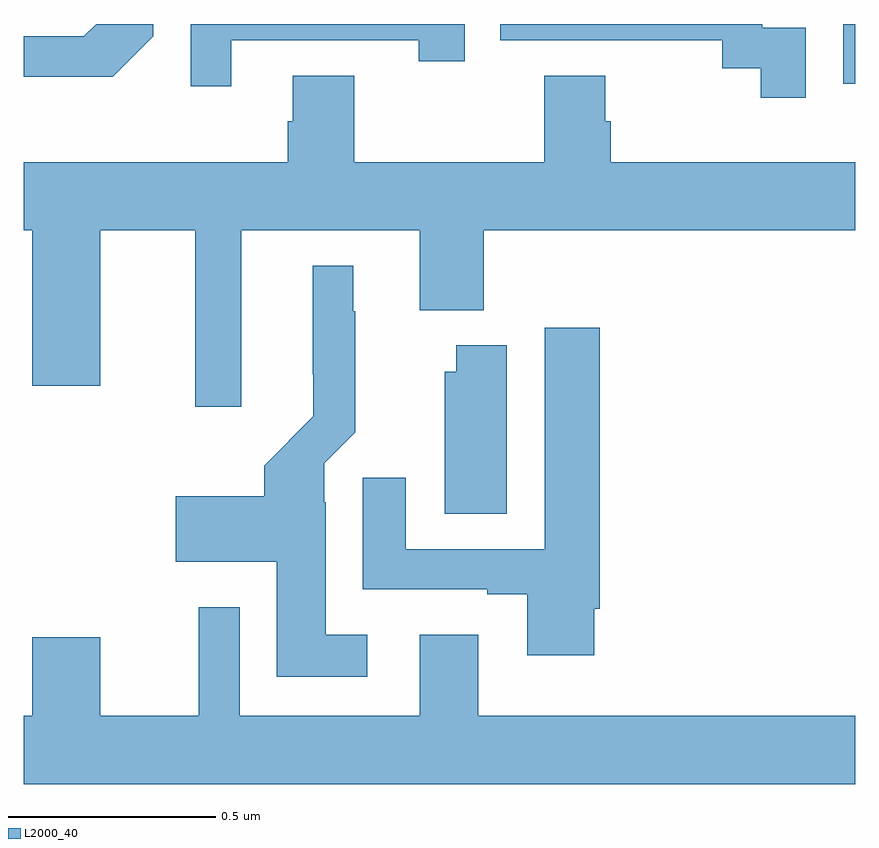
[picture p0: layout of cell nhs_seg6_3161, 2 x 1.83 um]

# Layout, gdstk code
import gdstk
lib = gdstk.Library(unit=1e-6, precision=1e-09)
def R(c, l, rs):  # rectangles x0, y0, x1, y1
    for r in rs: c.add(gdstk.rectangle(r[:2], r[2:], *l))
def P(c, l, *ps):  # polygons
    for p in ps: c.add(gdstk.Polygon(p, *l))
L2000_40 = (2000, 40)

nhs_seg6_3161 = lib.new_cell('nhs_seg6_3161')
R(nhs_seg6_3161, L2000_40, [(154.971,946.356,155,946.5)])
P(nhs_seg6_3161, L2000_40, [(153.312,946.47),(153.312,946.5),(153.174,946.5),(153.144,946.47),(153,946.47),(153,946.373),(153.214,946.373)],
  [(154.881,946.491),(154.776,946.491),(154.776,946.5),(154.146,946.5),(154.146,946.461),(154.68,946.461),(154.68,946.393),(154.773,946.393),(154.773,946.323),(154.881,946.323)],
  [(153.499,946.461),(153.95,946.461),(153.95,946.41),(154.061,946.41),(154.061,946.5),(153.402,946.5),(153.402,946.35),(153.499,946.35)],
  [(153.523,946.004),(153.953,946.004),(153.953,945.812),(154.106,945.812),(154.106,946.004),(155,946.004),(155,946.168),(154.412,946.168),(154.412,946.266),(154.399,946.266),(154.399,946.376),(154.252,946.376),(154.252,946.168),(153.795,946.168),(153.795,946.376),(153.647,946.376),(153.647,946.266),(153.635,946.266),(153.635,946.168),(153,946.168),(153,946.004),(153.02,946.004),(153.02,945.63),(153.184,945.63),(153.184,946.004),(153.413,946.004),(153.413,945.579),(153.523,945.579)],
  [(153.826,945.031),(153.727,945.031),(153.727,945.35),(153.723,945.35),(153.723,945.444),(153.797,945.518),(153.797,945.809),(153.793,945.809),(153.793,945.919),(153.695,945.919),(153.695,945.658),(153.696,945.658),(153.696,945.556),(153.578,945.438),(153.578,945.364),(153.366,945.364),(153.366,945.206),(153.608,945.206),(153.608,944.93),(153.826,944.93)],
  [(154.372,945.094),(154.385,945.094),(154.385,945.769),(154.253,945.769),(154.253,945.237),(153.919,945.237),(153.919,945.409),(153.815,945.409),(153.815,945.141),(154.115,945.141),(154.115,945.129),(154.211,945.129),(154.211,944.982),(154.372,944.982)],
  [(154.162,945.727),(154.04,945.727),(154.04,945.663),(154.013,945.663),(154.013,945.322),(154.162,945.322)],
  [(155,944.836),(154.093,944.836),(154.093,945.031),(153.953,945.031),(153.953,944.836),(153.519,944.836),(153.519,945.097),(153.421,945.097),(153.421,944.836),(153.184,944.836),(153.184,945.025),(153.02,945.025),(153.02,944.836),(153,944.836),(153,944.672),(155,944.672)])

lib.write_gds('nhs_seg6_3161.gds')
